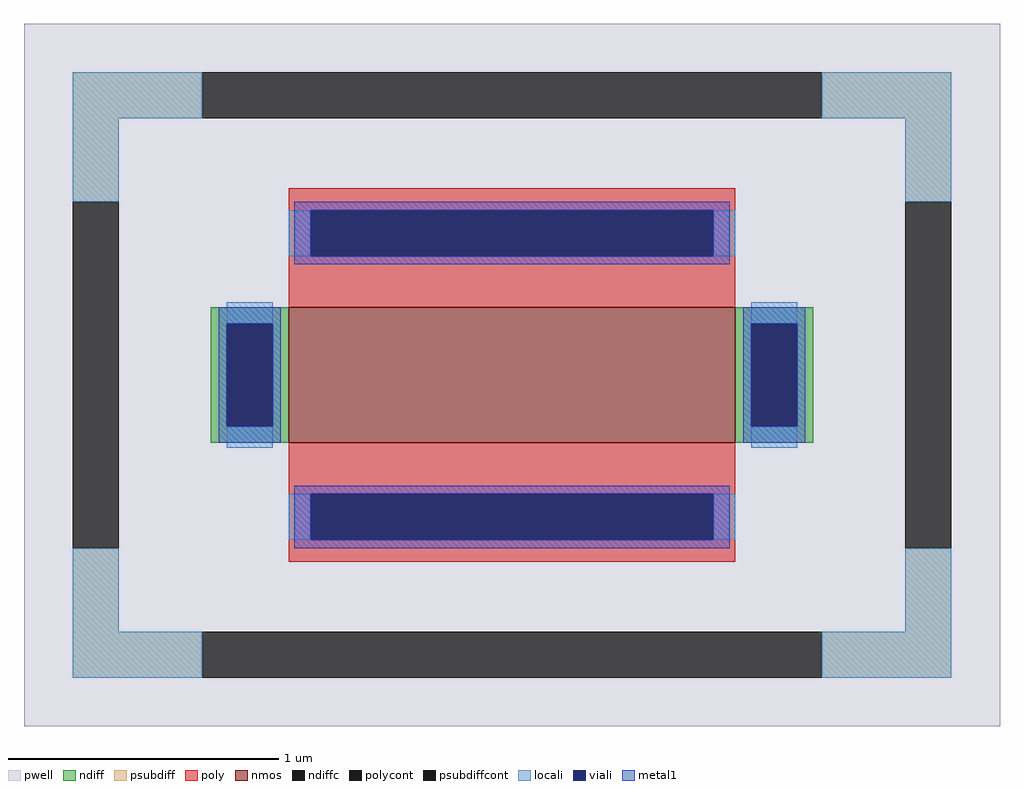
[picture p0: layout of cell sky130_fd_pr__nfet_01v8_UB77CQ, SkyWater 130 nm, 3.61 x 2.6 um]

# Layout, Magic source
magic
tech sky130A
magscale 1 2
<< pwell >>
rect -361 -260 361 260
<< nmos >>
rect -165 -50 165 50
<< ndiff >>
rect -223 38 -165 50
rect -223 -38 -211 38
rect -177 -38 -165 38
rect -223 -50 -165 -38
rect 165 38 223 50
rect 165 -38 177 38
rect 211 -38 223 38
rect 165 -50 223 -38
<< ndiffc >>
rect -211 -38 -177 38
rect 177 -38 211 38
<< psubdiff >>
rect -325 190 -229 224
rect 229 190 325 224
rect -325 128 -291 190
rect 291 128 325 190
rect -325 -190 -291 -128
rect 291 -190 325 -128
rect -325 -224 -229 -190
rect 229 -224 325 -190
<< psubdiffcont >>
rect -229 190 229 224
rect -325 -128 -291 128
rect 291 -128 325 128
rect -229 -224 229 -190
<< poly >>
rect -165 122 165 138
rect -165 88 -149 122
rect 149 88 165 122
rect -165 50 165 88
rect -165 -88 165 -50
rect -165 -122 -149 -88
rect 149 -122 165 -88
rect -165 -138 165 -122
<< polycont >>
rect -149 88 149 122
rect -149 -122 149 -88
<< locali >>
rect -325 190 -229 224
rect 229 190 325 224
rect -325 128 -291 190
rect 291 128 325 190
rect -165 88 -149 122
rect 149 88 165 122
rect -211 38 -177 54
rect -211 -54 -177 -38
rect 177 38 211 54
rect 177 -54 211 -38
rect -165 -122 -149 -88
rect 149 -122 165 -88
rect -325 -190 -291 -128
rect 291 -190 325 -128
rect -325 -224 -229 -190
rect 229 -224 325 -190
<< viali >>
rect -149 88 149 122
rect -211 -38 -177 38
rect 177 -38 211 38
rect -149 -122 149 -88
<< metal1 >>
rect -161 122 161 128
rect -161 88 -149 122
rect 149 88 161 122
rect -161 82 161 88
rect -217 38 -171 50
rect -217 -38 -211 38
rect -177 -38 -171 38
rect -217 -50 -171 -38
rect 171 38 217 50
rect 171 -38 177 38
rect 211 -38 217 38
rect 171 -50 217 -38
rect -161 -88 161 -82
rect -161 -122 -149 -88
rect 149 -122 161 -88
rect -161 -128 161 -122
<< properties >>
string FIXED_BBOX -308 -207 308 207
string gencell sky130_fd_pr__nfet_01v8
string library sky130
string parameters w 0.5 l 1.65 m 1 nf 1 diffcov 100 polycov 100 guard 1 glc 1 grc 1 gtc 1 gbc 1 tbcov 100 rlcov 100 topc 1 botc 1 poverlap 0 doverlap 1 lmin 0.15 wmin 0.42 compatible {sky130_fd_pr__nfet_01v8 sky130_fd_pr__nfet_01v8_lvt  sky130_fd_bs_flash__special_sonosfet_star  sky130_fd_pr__nfet_g5v0d10v5 sky130_fd_pr__nfet_05v0_nvt  sky130_fd_pr__nfet_03v3_nvt} full_metal 1 viasrc 100 viadrn 100 viagate 100 viagb 0 viagr 0 viagl 0 viagt 0
<< end >>
